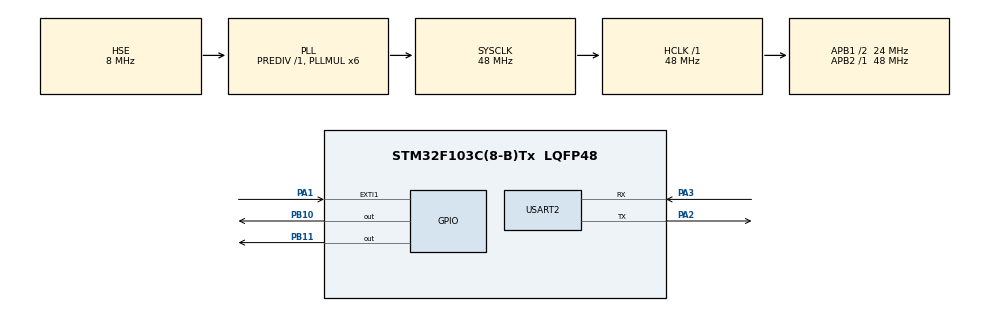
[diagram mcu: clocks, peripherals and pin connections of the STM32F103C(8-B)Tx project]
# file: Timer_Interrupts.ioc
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Mcu.Family=STM32F1
Mcu.Name=STM32F103C(8-B)Tx
Mcu.Package=LQFP48
NVIC.EXTI1_IRQn=true\:0\:0\:false\:false\:true\:true\:true\:true
NVIC.PriorityGroup=NVIC_PRIORITYGROUP_4
NVIC.TIM3_IRQn=true\:0\:0\:false\:false\:true\:true\:true\:true
PA1.GPIO_ModeDefaultEXTI=GPIO_MODE_IT_FALLING
PA1.GPIO_PuPd=GPIO_PULLUP
PA1.Signal=GPXTI1
PA13.Mode=Serial_Wire
PA13.Signal=SYS_JTMS-SWDIO
PA14.Mode=Serial_Wire
PA14.Signal=SYS_JTCK-SWCLK
PA2.Mode=Asynchronous
PA2.Signal=USART2_TX
PA3.Mode=Asynchronous
PA3.Signal=USART2_RX
PB10.Signal=GPIO_Output
PB11.Signal=GPIO_Output
PD0-OSC_IN.Mode=HSE-External-Oscillator
PD0-OSC_IN.Signal=RCC_OSC_IN
PD1-OSC_OUT.Mode=HSE-External-Oscillator
PD1-OSC_OUT.Signal=RCC_OSC_OUT
ProjectManager.HeapSize=0x200
ProjectManager.StackSize=0x400
ProjectManager.TargetToolchain=STM32CubeIDE
RCC.AHBFreq_Value=48000000
RCC.APB1CLKDivider=RCC_HCLK_DIV2
RCC.APB1Freq_Value=24000000
RCC.APB1TimFreq_Value=48000000
RCC.APB2Freq_Value=48000000
RCC.APB2TimFreq_Value=48000000
RCC.HCLKFreq_Value=48000000
RCC.PLLMUL=RCC_PLL_MUL6
RCC.PLLSourceVirtual=RCC_PLLSOURCE_HSE
RCC.SYSCLKFreq_VALUE=48000000
RCC.SYSCLKSource=RCC_SYSCLKSOURCE_PLLCLK
RCC.USBFreq_Value=48000000
TIM3.Period=3000
TIM3.Prescaler=31999
USART2.VirtualMode=VM_ASYNC
VP_TIM3_VS_ClockSourceINT.Mode=Internal
board=custom

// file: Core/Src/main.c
/* USER CODE BEGIN Header */
/**
  ******************************************************************************
  * @file           : main.c
  * @brief          : Main program body
  ******************************************************************************
  * @attention
  *
  * Copyright (c) 2024 STMicroelectronics.
  * All rights reserved.
  *
  * This software is licensed under terms that can be found in the LICENSE file
  * in the root directory of this software component.
  * If no LICENSE file comes with this software, it is provided AS-IS.
  *
  ******************************************************************************
  */
/* USER CODE END Header */
#include "main.h"

/* USER CODE BEGIN Includes */
#define PUTCHAR_PROTOTYPE int __io_putchar(int ch)
/* USER CODE END Includes */

TIM_HandleTypeDef htim3;

UART_HandleTypeDef huart2;

/* USER CODE BEGIN PV */
int isSet = 0; // флаг включения светодиода
/* USER CODE END PV */

void SystemClock_Config(void);
static void MX_GPIO_Init(void);
static void MX_TIM3_Init(void);
static void MX_USART2_UART_Init(void);

int main(void)
{

  /* MCU Configuration--------------------------------------------------------*/

  /* Reset of all peripherals, Initializes the Flash interface and the Systick. */
  HAL_Init();

  /* Configure the system clock */
  SystemClock_Config();

  /* Initialize all configured peripherals */
  MX_GPIO_Init();
  MX_TIM3_Init();
  MX_USART2_UART_Init();
  /* USER CODE BEGIN 2 */
  HAL_TIM_Base_Start_IT(&htim3);
 // HAL_GPIO_WritePin(GPIOB, GPIO_PIN_11, GPIO_PIN_SET);
  /* USER CODE END 2 */

  /* Infinite loop */
  while (1)
  {

  }
}

void SystemClock_Config(void)
{
  RCC_OscInitTypeDef RCC_OscInitStruct = {0};
  RCC_ClkInitTypeDef RCC_ClkInitStruct = {0};

  /** Initializes the RCC Oscillators according to the specified parameters
  * in the RCC_OscInitTypeDef structure.
  */
  RCC_OscInitStruct.OscillatorType = RCC_OSCILLATORTYPE_HSE;
  RCC_OscInitStruct.HSEState = RCC_HSE_ON;
  RCC_OscInitStruct.HSEPredivValue = RCC_HSE_PREDIV_DIV1;
  RCC_OscInitStruct.HSIState = RCC_HSI_ON;
  RCC_OscInitStruct.PLL.PLLState = RCC_PLL_ON;
  RCC_OscInitStruct.PLL.PLLSource = RCC_PLLSOURCE_HSE;
  RCC_OscInitStruct.PLL.PLLMUL = RCC_PLL_MUL6;
  if (HAL_RCC_OscConfig(&RCC_OscInitStruct) != HAL_OK)
  {
    Error_Handler();
  }

  /** Initializes the CPU, AHB and APB buses clocks
  */
  RCC_ClkInitStruct.ClockType = RCC_CLOCKTYPE_HCLK|RCC_CLOCKTYPE_SYSCLK
                              |RCC_CLOCKTYPE_PCLK1|RCC_CLOCKTYPE_PCLK2;
  RCC_ClkInitStruct.SYSCLKSource = RCC_SYSCLKSOURCE_PLLCLK;
  RCC_ClkInitStruct.AHBCLKDivider = RCC_SYSCLK_DIV1;
  RCC_ClkInitStruct.APB1CLKDivider = RCC_HCLK_DIV2;
  RCC_ClkInitStruct.APB2CLKDivider = RCC_HCLK_DIV1;

  if (HAL_RCC_ClockConfig(&RCC_ClkInitStruct, FLASH_LATENCY_1) != HAL_OK)
  {
    Error_Handler();
  }
}

static void MX_TIM3_Init(void)
{

  TIM_ClockConfigTypeDef sClockSourceConfig = {0};
  TIM_MasterConfigTypeDef sMasterConfig = {0};

  htim3.Instance = TIM3;
  htim3.Init.Prescaler = 31999;
  htim3.Init.CounterMode = TIM_COUNTERMODE_UP;
  htim3.Init.Period = 3000;
  htim3.Init.ClockDivision = TIM_CLOCKDIVISION_DIV1;
  htim3.Init.AutoReloadPreload = TIM_AUTORELOAD_PRELOAD_DISABLE;
  if (HAL_TIM_Base_Init(&htim3) != HAL_OK)
  {
    Error_Handler();
  }
  sClockSourceConfig.ClockSource = TIM_CLOCKSOURCE_INTERNAL;
  if (HAL_TIM_ConfigClockSource(&htim3, &sClockSourceConfig) != HAL_OK)
  {
    Error_Handler();
  }
  sMasterConfig.MasterOutputTrigger = TIM_TRGO_RESET;
  sMasterConfig.MasterSlaveMode = TIM_MASTERSLAVEMODE_DISABLE;
  if (HAL_TIMEx_MasterConfigSynchronization(&htim3, &sMasterConfig) != HAL_OK)
  {
    Error_Handler();
  }

}

static void MX_USART2_UART_Init(void)
{

  huart2.Instance = USART2;
  huart2.Init.BaudRate = 115200;
  huart2.Init.WordLength = UART_WORDLENGTH_8B;
  huart2.Init.StopBits = UART_STOPBITS_1;
  huart2.Init.Parity = UART_PARITY_NONE;
  huart2.Init.Mode = UART_MODE_TX_RX;
  huart2.Init.HwFlowCtl = UART_HWCONTROL_NONE;
  huart2.Init.OverSampling = UART_OVERSAMPLING_16;
  if (HAL_UART_Init(&huart2) != HAL_OK)
  {
    Error_Handler();
  }

}

static void MX_GPIO_Init(void)
{
  GPIO_InitTypeDef GPIO_InitStruct = {0};

  /* GPIO Ports Clock Enable */
  __HAL_RCC_GPIOD_CLK_ENABLE();
  __HAL_RCC_GPIOA_CLK_ENABLE();
  __HAL_RCC_GPIOB_CLK_ENABLE();

  /*Configure GPIO pin Output Level */
  HAL_GPIO_WritePin(GPIOB, GPIO_PIN_10|GPIO_PIN_11, GPIO_PIN_RESET);

  /*Configure GPIO pin : PA1 */
  GPIO_InitStruct.Pin = GPIO_PIN_1;
  GPIO_InitStruct.Mode = GPIO_MODE_IT_FALLING;
  GPIO_InitStruct.Pull = GPIO_PULLUP;
  HAL_GPIO_Init(GPIOA, &GPIO_InitStruct);

  /*Configure GPIO pins : PB10 PB11 */
  GPIO_InitStruct.Pin = GPIO_PIN_10|GPIO_PIN_11;
  GPIO_InitStruct.Mode = GPIO_MODE_OUTPUT_PP;
  GPIO_InitStruct.Pull = GPIO_NOPULL;
  GPIO_InitStruct.Speed = GPIO_SPEED_FREQ_LOW;
  HAL_GPIO_Init(GPIOB, &GPIO_InitStruct);

  /* EXTI interrupt init*/
  HAL_NVIC_SetPriority(EXTI1_IRQn, 0, 0);
  HAL_NVIC_EnableIRQ(EXTI1_IRQn);

}

/* USER CODE BEGIN 4 */

void HAL_TIM_PeriodElapsedCallback(TIM_HandleTypeDef *htim3)
{
	  HAL_GPIO_TogglePin(GPIOB, GPIO_PIN_10);
	  printf("LED toggle from timer3\r\n");
}

void HAL_GPIO_EXTI_Callback(uint16_t GPIO_Pin)
{
	if (GPIO_Pin == GPIO_PIN_1 && isSet == 0){
		isSet = 1;
		HAL_GPIO_WritePin(GPIOB, GPIO_PIN_11, GPIO_PIN_SET);
		printf("led on\r\n");
	}
	else if (GPIO_Pin == GPIO_PIN_1 && isSet == 1){
		isSet = 0;
		HAL_GPIO_WritePin(GPIOB, GPIO_PIN_11, GPIO_PIN_RESET);
		printf("led off\r\n");
	}

}

PUTCHAR_PROTOTYPE
{
  /* Place your implementation of fputc here */
  /* e.g. write a character to the USART1 and Loop until the end of transmission */
  HAL_UART_Transmit(&huart2, (uint8_t *)&ch, 1, 0xFFFF);

  return ch;
}
/* USER CODE END 4 */

void Error_Handler(void)
{
  __disable_irq();
  while (1)
  {
  }
}
